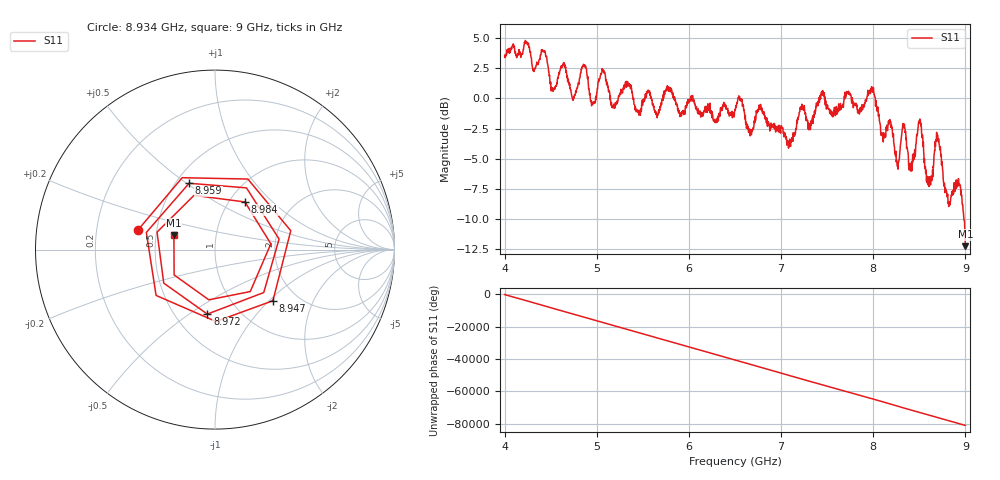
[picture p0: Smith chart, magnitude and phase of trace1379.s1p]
! Created with skrf 1.8.0 (http://scikit-rf.org).
# Hz S RI R 50.0
!freq ReS11 ImS11
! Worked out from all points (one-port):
!   1601 points, 4 GHz to 9 GHz, reference 50 ohm
!   lowest |S11| = -12.3 dB at 9 GHz (marker M1), VSWR 1.64, Z = 31 + j5.41 ohm
!   |S11| at or under -10 dB: 8.983202 GHz to end of sweep
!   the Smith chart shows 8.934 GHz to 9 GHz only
!   S11 on the Smith chart (normalised r, x): 8.934 GHz: 0.39, +0.11; 8.947 GHz: 1.51, -1.06; 8.959 GHz: 0.58, +0.51; 8.972 GHz: 0.71, -0.59; 8.984 GHz: 1.18, +0.69; 9 GHz: 0.62, +0.11
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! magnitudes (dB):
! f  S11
! 4 GHz  3.5
! 4.422 GHz  3.9
! 4.528 GHz  0.6
! 4.625 GHz  2.6
! 4.744 GHz  -0.2
! 4.862 GHz  2.7
! 4.956 GHz  -0.4
! 5.062 GHz  2.3
! 5.25 GHz  0.4
! 5.875 GHz  -0.6
! 6.5 GHz  -0.9
! 7.125 GHz  -3.2
! 7.228 GHz  -0.7
! 7.75 GHz  0.4
! 7.991 GHz  0.5
! 8.259 GHz  -5.5
! 8.328 GHz  -2.4
! 8.375 GHz  -4.4
! 8.509 GHz  -1.9
! 8.597 GHz  -6.6
! 8.697 GHz  -3.1
! 8.812 GHz  -8.7
! 8.934 GHz  -7.1
! 8.947 GHz  -7.3
! 8.959 GHz  -8.0
! 8.972 GHz  -8.8
! 8.984 GHz  -10.1
! 9 GHz  -12.3
